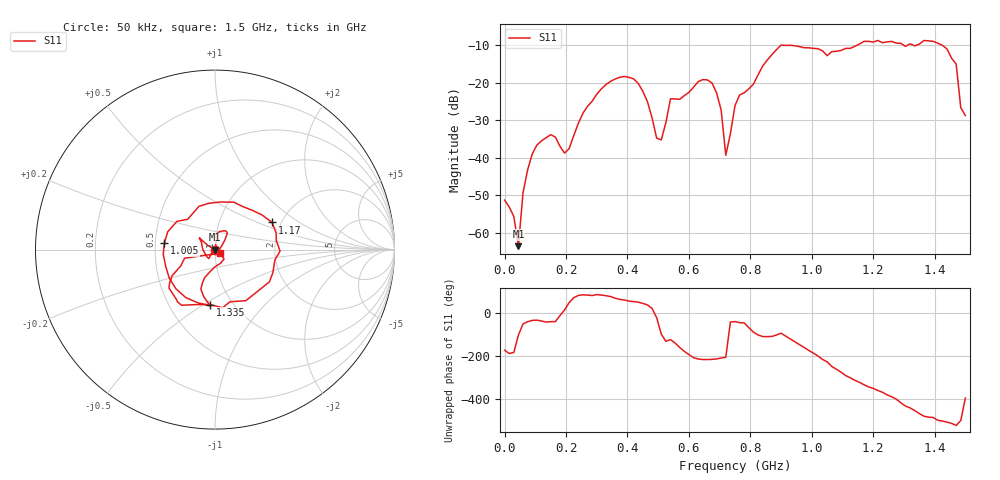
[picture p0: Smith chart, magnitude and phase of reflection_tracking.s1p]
! Created with skrf 1.8.0 (http://scikit-rf.org).
# Hz S RI R 50.0
!freq ReS11 ImS11
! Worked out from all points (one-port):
!   101 points, 50 kHz to 1.5 GHz, reference 50 ohm
!   lowest |S11| = -63.5 dB at 45.05 MHz (marker M1), VSWR 1.00, Z = 50 - j0.065 ohm
!   |S11| at or under -10 dB: start of sweep to 1.149 GHz; 1.298 GHz to 1.314 GHz (15.7 MHz wide, 1.2 % of centre); 1.423 GHz to end of sweep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
!   S11 on the Smith chart (normalised r, x): 50 kHz: 0.99, -0.00; 1.005 GHz: 0.56, +0.04; 1.17 GHz: 1.80, +0.62; 1.335 GHz: 0.79, -0.53; 1.5 GHz: 1.06, -0.05
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50000  -0.00271 -0.000297
3.0049e7  -0.00165 0.000123
4.50485e7  -0.00015 -0.00065
6.0048e7  0.00215 -0.00269
9.0047e7  0.00922 -0.00643
1.50045e8  0.0153 -0.0133
1.950435e8  0.0112 0.00268
2.70041e8  0.00589 0.048
3.750375e8  0.0534 0.1048
4.350355e8  0.0626 0.0747
5.10033e8  -0.00264 -0.0171
5.40032e8  -0.0343 -0.0502
5.70031e8  -0.0566 -0.0195
6.750275e8  -0.0792 0.0587
7.050265e8  -0.0371 0.0216
7.20026e8  -0.00966 0.00481
7.50025e8  0.0376 -0.0321
9.0002e8  -0.0249 -0.3143
9.450185e8  -0.2173 -0.2189
1.005016e9  -0.2824 0.0352
1.125012e9  0.1522 0.2407
1.170011e9  0.3185 0.1512
1.320006e9  0.0427 -0.3243
1.335006e9  -0.0261 -0.3062
1.440002e9  -0.2391 -0.1457
1.470001e9  -0.1694 -0.0477
1.485e9  -0.036 -0.0291
1.5e9  0.0293 -0.0215
